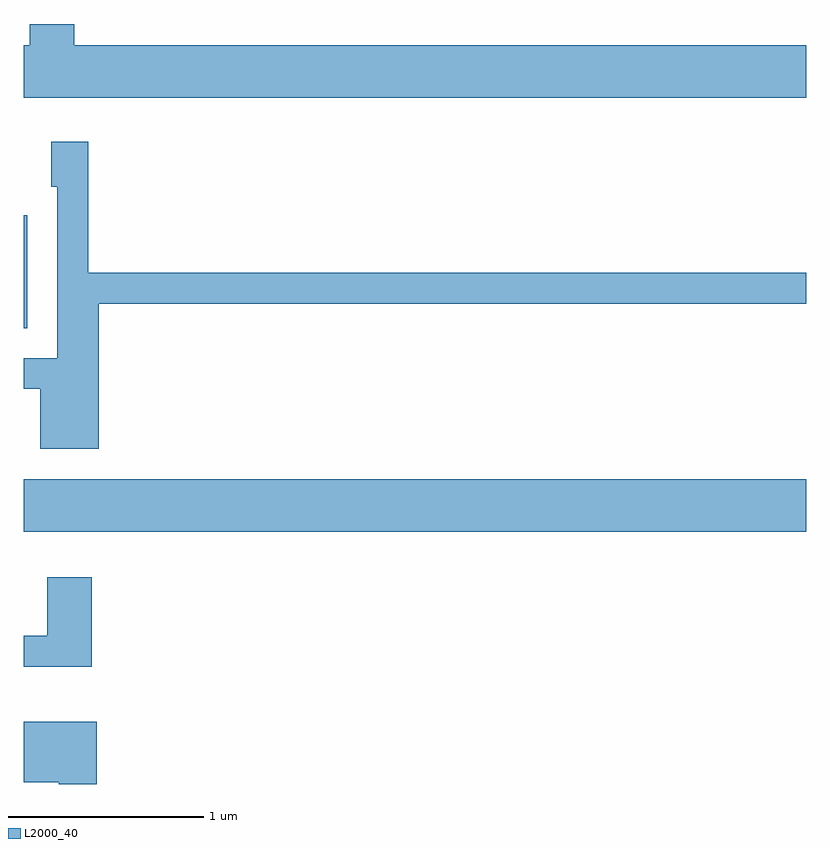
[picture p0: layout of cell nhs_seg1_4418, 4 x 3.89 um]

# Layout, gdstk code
import gdstk
lib = gdstk.Library(unit=1e-6, precision=1e-09)
def R(c, l, rs):  # rectangles x0, y0, x1, y1
    for r in rs: c.add(gdstk.rectangle(r[:2], r[2:], *l))
def P(c, l, *ps):  # polygons
    for p in ps: c.add(gdstk.Polygon(p, *l))
L2000_40 = (2000, 40)

nhs_seg1_4418 = lib.new_cell('nhs_seg1_4418')
R(nhs_seg1_4418, L2000_40, [(317.611,915.116,321.611,915.384), (317.611,916.156,317.629,916.734)])
P(nhs_seg1_4418, L2000_40, [(321.611,917.604),(317.869,917.604),(317.869,917.712),(317.641,917.712),(317.641,917.604),(317.611,917.604),(317.611,917.336),(321.611,917.336)],
  [(317.994,916.281),(321.611,916.281),(321.611,916.439),(317.939,916.439),(317.939,917.109),(317.751,917.109),(317.751,916.881),(317.781,916.881),(317.781,916.004),(317.611,916.004),(317.611,915.846),(317.696,915.846),(317.696,915.541),(317.994,915.541)],
  [(317.959,914.884),(317.731,914.884),(317.731,914.584),(317.611,914.584),(317.611,914.426),(317.959,914.426)],
  [(317.984,914.144),(317.611,914.144),(317.611,913.836),(317.79,913.836),(317.79,913.826),(317.984,913.826)])

lib.write_gds('nhs_seg1_4418.gds')
